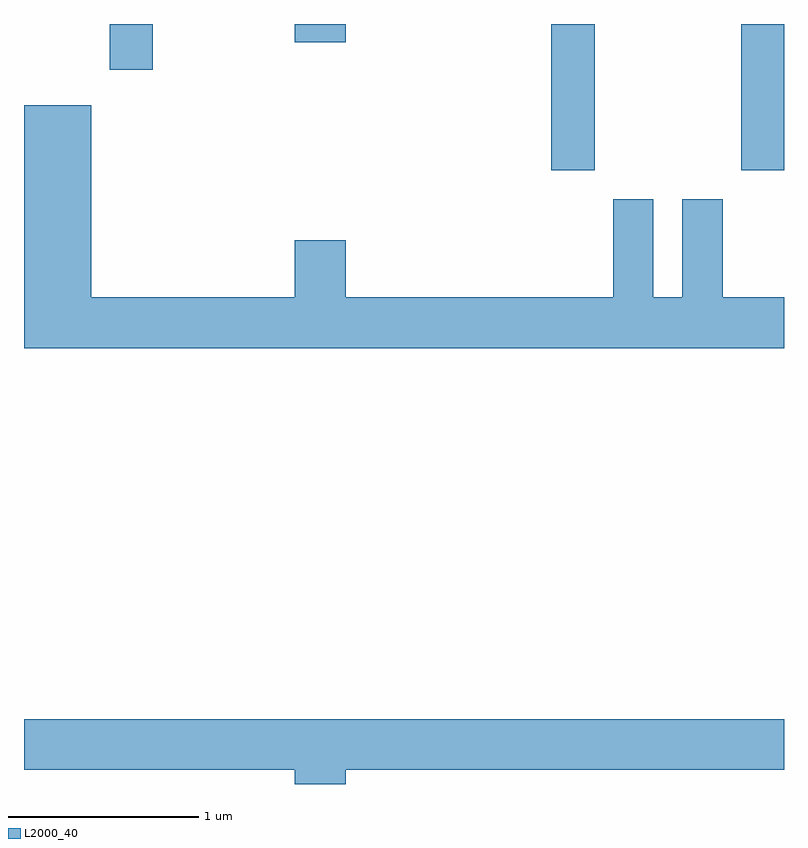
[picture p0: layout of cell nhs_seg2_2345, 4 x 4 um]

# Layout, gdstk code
import gdstk
lib = gdstk.Library(unit=1e-6, precision=1e-09)
def R(c, l, rs):  # rectangles x0, y0, x1, y1
    for r in rs: c.add(gdstk.rectangle(r[:2], r[2:], *l))
def P(c, l, *ps):  # polygons
    for p in ps: c.add(gdstk.Polygon(p, *l))
L2000_40 = (2000, 40)

nhs_seg2_2345 = lib.new_cell('nhs_seg2_2345')
R(nhs_seg2_2345, L2000_40, [(256.386,1047.031,256.614,1047.802), (257.386,1047.031,257.611,1047.802), (254.061,1047.561,254.289,1047.802), (255.036,1047.706,255.304,1047.802)])
P(nhs_seg2_2345, L2000_40, [(257.611,1046.364),(257.289,1046.364),(257.289,1046.879),(257.076,1046.879),(257.076,1046.364),(256.924,1046.364),(256.924,1046.879),(256.711,1046.879),(256.711,1046.364),(255.304,1046.364),(255.304,1046.664),(255.036,1046.664),(255.036,1046.364),(253.964,1046.364),(253.964,1047.374),(253.611,1047.374),(253.611,1046.096),(257.611,1046.096)],
  [(255.304,1043.876),(257.611,1043.876),(257.611,1044.144),(253.611,1044.144),(253.611,1043.876),(255.036,1043.876),(255.036,1043.802),(255.304,1043.802)])

lib.write_gds('nhs_seg2_2345.gds')
